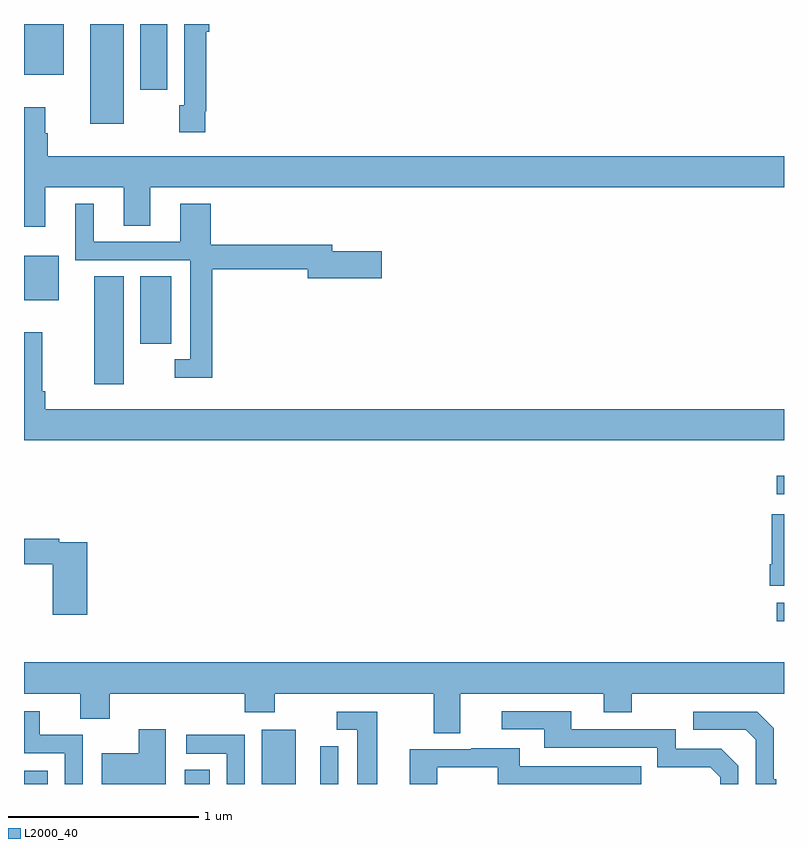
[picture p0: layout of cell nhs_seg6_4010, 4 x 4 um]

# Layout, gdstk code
import gdstk
lib = gdstk.Library(unit=1e-6, precision=1e-09)
def R(c, l, rs):  # rectangles x0, y0, x1, y1
    for r in rs: c.add(gdstk.rectangle(r[:2], r[2:], *l))
def P(c, l, *ps):  # polygons
    for p in ps: c.add(gdstk.Polygon(p, *l))
L2000_40 = (2000, 40)

nhs_seg6_4010 = lib.new_cell('nhs_seg6_4010')
R(nhs_seg6_4010, L2000_40, [(347,973.5,347.125,973.57), (347.846,973.5,347.977,973.574), (348.251,973.5,348.43,973.786), (350.961,974.357,351,974.454), (350.961,975.024,351,975.122), (347.369,975.603,347.524,976.172), (347.612,975.816,347.776,976.172), (347,976.046,347.182,976.279), (347.348,976.976,347.524,977.5), (347.612,977.154,347.755,977.5), (347,977.234,347.209,977.5)])
P(nhs_seg6_4010, L2000_40, [(347.953,977.041),(347.96,977.041),(347.96,977.459),(347.974,977.459),(347.974,977.5),(347.844,977.5),(347.844,977.073),(347.818,977.073),(347.818,976.929),(347.953,976.929)],
  [(347.113,976.64),(347.525,976.64),(347.525,976.438),(347.665,976.438),(347.665,976.64),(351,976.64),(351,976.804),(347.126,976.804),(347.126,976.925),(347.113,976.925),(347.113,977.062),(347,977.062),(347,976.434),(347.113,976.434)],
  [(347.99,976.21),(348.494,976.21),(348.494,976.163),(348.883,976.163),(348.883,976.305),(348.622,976.305),(348.622,976.339),(347.984,976.339),(347.984,976.555),(347.822,976.555),(347.822,976.353),(347.368,976.353),(347.368,976.555),(347.27,976.555),(347.27,976.257),(347.874,976.257),(347.874,975.735),(347.793,975.735),(347.793,975.638),(347.99,975.638)],
  [(351,975.472),(347.111,975.472),(347.111,975.568),(347.096,975.568),(347.096,975.877),(347,975.877),(347,975.308),(351,975.308)],
  [(351,974.92),(350.936,974.92),(350.936,974.656),(350.924,974.656),(350.924,974.544),(351,974.544)],
  [(347.333,974.772),(347.186,974.772),(347.186,974.792),(347,974.792),(347,974.656),(347.15,974.656),(347.15,974.391),(347.333,974.391)],
  [(349.297,973.976),(350.051,973.976),(350.051,973.877),(350.199,973.877),(350.199,973.976),(351,973.976),(351,974.14),(347,974.14),(347,973.976),(347.297,973.976),(347.297,973.843),(347.45,973.843),(347.45,973.976),(348.161,973.976),(348.161,973.877),(348.321,973.877),(348.321,973.976),(349.157,973.976),(349.157,973.768),(349.297,973.768)],
  [(347.31,973.758),(347.084,973.758),(347.084,973.884),(347,973.884),(347,973.662),(347.214,973.662),(347.214,973.5),(347.31,973.5)],
  [(350.76,973.596),(350.67,973.686),(350.43,973.686),(350.43,973.788),(349.879,973.788),(349.879,973.884),(349.515,973.884),(349.515,973.788),(349.739,973.788),(349.739,973.692),(350.334,973.692),(350.334,973.589),(350.611,973.589),(350.664,973.536),(350.664,973.5),(350.76,973.5)],
  [(350.959,973.525),(350.946,973.525),(350.946,973.794),(350.859,973.881),(350.523,973.881),(350.523,973.785),(350.799,973.785),(350.85,973.734),(350.85,973.5),(350.959,973.5)],
  [(348.859,973.881),(348.645,973.881),(348.645,973.785),(348.755,973.785),(348.755,973.5),(348.859,973.5)],
  [(347.746,973.789),(347.605,973.789),(347.605,973.663),(347.408,973.663),(347.408,973.5),(347.746,973.5)],
  [(348.162,973.758),(347.853,973.758),(347.853,973.659),(348.066,973.659),(348.066,973.5),(348.162,973.5)],
  [(348.654,973.7),(348.558,973.7),(348.558,973.546),(348.56,973.546),(348.56,973.5),(348.654,973.5)],
  [(349.176,973.587),(349.494,973.587),(349.494,973.5),(350.249,973.5),(350.249,973.593),(349.609,973.593),(349.609,973.687),(349.355,973.687),(349.355,973.683),(349.031,973.683),(349.031,973.5),(349.176,973.5)])

lib.write_gds('nhs_seg6_4010.gds')
